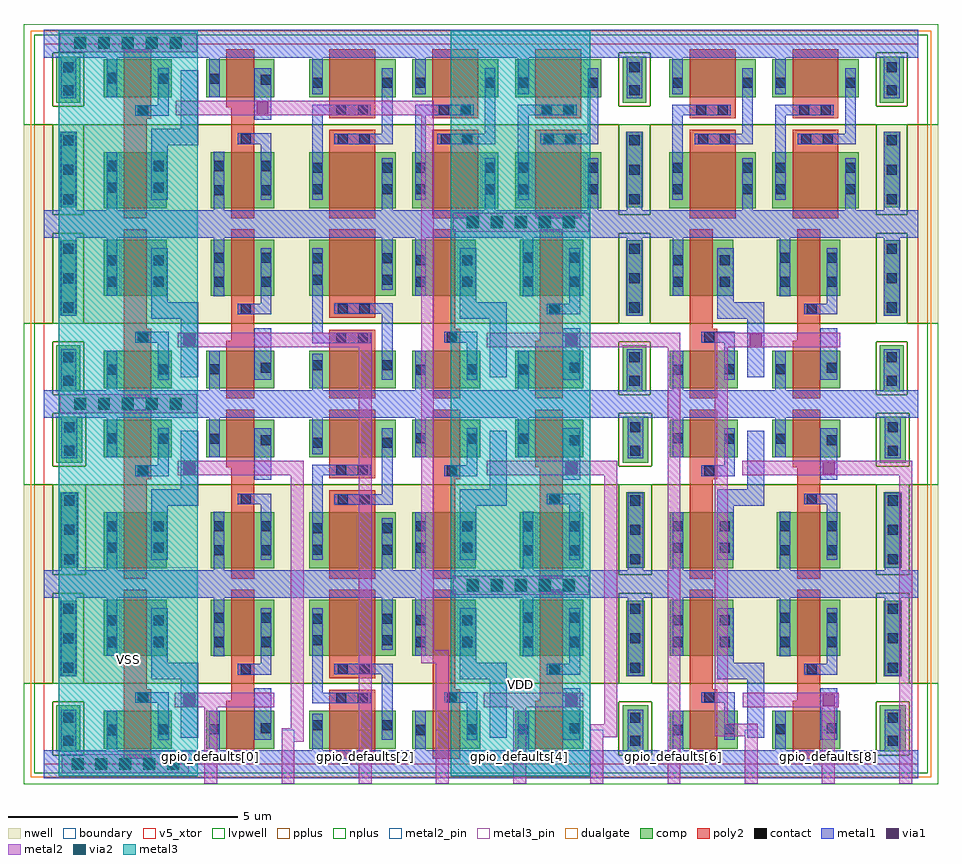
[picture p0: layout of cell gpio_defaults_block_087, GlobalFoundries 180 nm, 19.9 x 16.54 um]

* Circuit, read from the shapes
.subckt gpio_defaults_block_087 VDD VSS gpio_defaults[0] gpio_defaults[1] gpio_defaults[2] gpio_defaults[3] gpio_defaults[4] gpio_defaults[5] gpio_defaults[6] gpio_defaults[7] gpio_defaults[8] gpio_defaults[9]
XM1 n1 n1 VSS VSS nfet_05v0 w=0.82u l=0.6u
XM2 n2 n2 VSS VSS nfet_05v0 w=0.82u l=0.6u
XM3 n3 n3 VSS VSS nfet_05v0 w=0.82u l=0.6u
XM4 n4 n4 VSS VSS nfet_05v0 w=0.82u l=0.6u
XM5 gf180mcu_fd_sc_mcu7t5v0__tiel_6/ZN n5 VSS VSS nfet_05v0 w=0.82u l=0.6u
XM6 gf180mcu_fd_sc_mcu7t5v0__tiel_7/ZN n6 VSS VSS nfet_05v0 w=0.82u l=0.6u
XM7 gf180mcu_fd_sc_mcu7t5v0__tiel_23/ZN n7 VSS VSS nfet_05v0 w=0.82u l=0.6u
XM8 gpio_defaults[3] n8 VSS VSS nfet_05v0 w=0.82u l=0.6u
XM9 n9 n10 VSS VSS nfet_05v0 w=0.82u l=1u
XM10 n11 n12 VSS VSS nfet_05v0 w=0.82u l=1u
XM11 n13 n14 VSS VSS nfet_05v0 w=0.82u l=1u
XM12 n15 n16 VSS VSS nfet_05v0 w=0.82u l=1u
XM13 n17 n18 VSS VSS nfet_05v0 w=0.82u l=1u
XM14 n19 n19 VSS VSS nfet_05v0 w=0.82u l=0.6u
XM15 n20 n20 VSS VSS nfet_05v0 w=0.82u l=0.6u
XM16 n21 n21 VSS VSS nfet_05v0 w=0.82u l=0.6u
XM17 gpio_defaults[4] n22 VSS VSS nfet_05v0 w=0.82u l=0.6u
XM18 gpio_defaults[5] n23 VSS VSS nfet_05v0 w=0.82u l=0.6u
XM19 gpio_defaults[6] n24 VSS VSS nfet_05v0 w=0.82u l=0.6u
XM20 n25 n26 VSS VSS nfet_05v0 w=0.82u l=1u
XM21 n27 n28 VSS VSS nfet_05v0 w=0.82u l=1u
XM22 n29 n29 VSS VSS nfet_05v0 w=0.82u l=0.6u
XM23 n30 n30 VSS VSS nfet_05v0 w=0.82u l=0.6u
XM24 n31 n31 VSS VSS nfet_05v0 w=0.82u l=0.6u
XM25 gpio_defaults[8] n32 VSS VSS nfet_05v0 w=0.82u l=0.6u
XM26 gpio_defaults[9] n33 VSS VSS nfet_05v0 w=0.82u l=0.6u
XM27 gf180mcu_fd_sc_mcu7t5v0__tiel_29/ZN n34 VSS VSS nfet_05v0 w=0.82u l=0.6u
XM28 n35 n36 VSS VSS nfet_05v0 w=0.82u l=1u
XM29 gpio_defaults[0] n1 VDD VDD pfet_05v0 w=1.22u l=0.5u
XM30 gpio_defaults[1] n2 VDD VDD pfet_05v0 w=1.22u l=0.5u
XM31 gpio_defaults[2] n3 VDD VDD pfet_05v0 w=1.22u l=0.5u
XM32 gf180mcu_fd_sc_mcu7t5v0__tieh_31/Z n4 VDD VDD pfet_05v0 w=1.22u l=0.5u
XM33 n5 n5 VDD VDD pfet_05v0 w=1.22u l=0.5u
XM34 n6 n6 VDD VDD pfet_05v0 w=1.22u l=0.5u
XM35 n7 n7 VDD VDD pfet_05v0 w=1.22u l=0.5u
XM36 n8 n8 VDD VDD pfet_05v0 w=1.22u l=0.5u
XM37 VDD n9 n10 VDD pfet_05v0 w=1.22u l=1u
XM38 VDD n11 n12 VDD pfet_05v0 w=1.22u l=1u
XM39 VDD n13 n14 VDD pfet_05v0 w=1.22u l=1u
XM40 VDD n15 n16 VDD pfet_05v0 w=1.22u l=1u
XM41 VDD n17 n18 VDD pfet_05v0 w=1.22u l=1u
XM42 gf180mcu_fd_sc_mcu7t5v0__tieh_8/Z n19 VDD VDD pfet_05v0 w=1.22u l=0.5u
XM43 gf180mcu_fd_sc_mcu7t5v0__tieh_9/Z n20 VDD VDD pfet_05v0 w=1.22u l=0.5u
XM44 gf180mcu_fd_sc_mcu7t5v0__tieh_24/Z n21 VDD VDD pfet_05v0 w=1.22u l=0.5u
XM45 VDD n25 n26 VDD pfet_05v0 w=1.22u l=1u
XM46 n22 n22 VDD VDD pfet_05v0 w=1.22u l=0.5u
XM47 n23 n23 VDD VDD pfet_05v0 w=1.22u l=0.5u
XM48 n24 n24 VDD VDD pfet_05v0 w=1.22u l=0.5u
XM49 VDD n27 n28 VDD pfet_05v0 w=1.22u l=1u
XM50 gf180mcu_fd_sc_mcu7t5v0__tieh_14/Z n29 VDD VDD pfet_05v0 w=1.22u l=0.5u
XM51 gf180mcu_fd_sc_mcu7t5v0__tieh_15/Z n30 VDD VDD pfet_05v0 w=1.22u l=0.5u
XM52 gpio_defaults[7] n31 VDD VDD pfet_05v0 w=1.22u l=0.5u
XM53 VDD n35 n36 VDD pfet_05v0 w=1.22u l=1u
XM54 n32 n32 VDD VDD pfet_05v0 w=1.22u l=0.5u
XM55 n33 n33 VDD VDD pfet_05v0 w=1.22u l=0.5u
XM56 n34 n34 VDD VDD pfet_05v0 w=1.22u l=0.5u
.ends

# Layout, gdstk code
import gdstk
lib = gdstk.Library(unit=1e-6, precision=1e-09)
def R(c, l, rs):  # rectangles x0, y0, x1, y1
    for r in rs: c.add(gdstk.rectangle(r[:2], r[2:], *l))
def A(c, l, x, y, w, h, nx, ny, dx, dy):  # array of equal rectangles
    R(c, l, [(x+i*dx, y+j*dy, x+i*dx+w, y+j*dy+h) for i in range(nx) for j in range(ny)])
def P(c, l, *ps):  # polygons
    for p in ps: c.add(gdstk.Polygon(p, *l))
boundary = (0, 0)
nwell = (21, 0)
comp = (22, 0)
poly2 = (30, 0)
pplus = (31, 0)
nplus = (32, 0)
contact = (33, 0)
metal1 = (34, 0)
via1 = (35, 0)
metal2 = (36, 0)
metal2_pin = (36, 10)
via2 = (38, 0)
metal3 = (42, 0)
metal3_pin = (42, 10)
dualgate = (55, 0)
v5_xtor = (112, 1)
lvpwell = (204, 0)

gf180mcu_fd_sc_mcu7t5v0_ = lib.new_cell('gf180mcu_fd_sc_mcu7t5v0__endcap')
R(gf180mcu_fd_sc_mcu7t5v0_, boundary, [(0,0,1.12,3.92)])
R(gf180mcu_fd_sc_mcu7t5v0_, nwell, [(-0.43,1.76,1.55,4.35)])
R(gf180mcu_fd_sc_mcu7t5v0_, comp, [(0.28,0.28,0.8,1.28), (0.36,1.92,0.72,3.56)])
R(gf180mcu_fd_sc_mcu7t5v0_, pplus, [(0.2,0.2,0.88,1.36)])
P(gf180mcu_fd_sc_mcu7t5v0_, pplus, [(-0.2,1.76),(-0.2,4.12),(1.32,4.12),(1.32,1.76),(0.88,1.76),(0.88,3.72),(0.2,3.72),(0.2,1.76)])
P(gf180mcu_fd_sc_mcu7t5v0_, nplus, [(-0.2,-0.2),(-0.2,1.76),(0.2,1.76),(0.2,3.72),(0.88,3.72),(0.88,1.36),(0.2,1.36),(0.2,0.2),(0.88,0.2),(0.88,3.72),(0.88,1.76),(1.32,1.76),(1.32,-0.2)])
A(gf180mcu_fd_sc_mcu7t5v0_, contact, 0.43, 1.99, 0.22, 0.22, 1, 3, 0, 0.64)
R(gf180mcu_fd_sc_mcu7t5v0_, contact, [(0.43,0.4,0.65,0.62), (0.43,0.905,0.65,1.125)])
P(gf180mcu_fd_sc_mcu7t5v0_, metal1, [(0,-0.3),(0,0.3),(0.37,0.3),(0.37,1.19),(0.71,1.19),(0.71,0.3),(1.12,0.3),(1.12,-0.3)],
  [(0.37,1.92),(0.37,3.62),(0,3.62),(0,4.22),(1.12,4.22),(1.12,3.62),(0.71,3.62),(0.71,1.92)])
R(gf180mcu_fd_sc_mcu7t5v0_, dualgate, [(-0.28,-0.28,1.4,4.2)])
R(gf180mcu_fd_sc_mcu7t5v0_, v5_xtor, [(0,0,1.12,3.92)])
R(gf180mcu_fd_sc_mcu7t5v0_, lvpwell, [(-0.43,-0.43,1.55,1.76)])
gf180mcu_fd_sc_mcu7t5v0_.add(gdstk.Label('VSS', (0.56,-0.01), layer=34, texttype=10))
gf180mcu_fd_sc_mcu7t5v0_.add(gdstk.Label('VDD', (0.56,3.935), layer=34, texttype=10))
gf180mcu_fd_sc_mcu7t5v0_.add(gdstk.Label('& Vendor GLOBALFOUNDRIES', (0,2), layer=63, texttype=63))
gf180mcu_fd_sc_mcu7t5v0_.add(gdstk.Label('& Product GF018hv5v_mcu_sc7', (0,1.5), layer=63, texttype=63))
gf180mcu_fd_sc_mcu7t5v0_.add(gdstk.Label('& Version 2015q2v1', (0,1), layer=63, texttype=63))
gf180mcu_fd_sc_mcu7t5v0_.add(gdstk.Label('& Metric 1.00', (0,0.5), layer=63, texttype=63))

c_gf180mcu_fd_sc_mcu7t5v0_ = lib.new_cell('gf180mcu_fd_sc_mcu7t5v0__filltie')
R(c_gf180mcu_fd_sc_mcu7t5v0_, boundary, [(0,0,1.12,3.92)])
R(c_gf180mcu_fd_sc_mcu7t5v0_, nwell, [(-0.43,1.76,1.55,4.35)])
R(c_gf180mcu_fd_sc_mcu7t5v0_, comp, [(0.28,0.28,0.84,1.28), (0.36,1.92,0.76,3.56)])
R(c_gf180mcu_fd_sc_mcu7t5v0_, pplus, [(0.2,0.2,0.92,1.36)])
P(c_gf180mcu_fd_sc_mcu7t5v0_, pplus, [(-0.2,1.76),(-0.2,4.12),(1.32,4.12),(1.32,1.76),(0.92,1.76),(0.92,3.72),(0.2,3.72),(0.2,1.76)])
P(c_gf180mcu_fd_sc_mcu7t5v0_, nplus, [(-0.2,-0.2),(-0.2,1.76),(0.2,1.76),(0.2,3.72),(0.92,3.72),(0.92,1.36),(0.2,1.36),(0.2,0.2),(0.92,0.2),(0.92,3.72),(0.92,1.76),(1.32,1.76),(1.32,-0.2)])
A(c_gf180mcu_fd_sc_mcu7t5v0_, contact, 0.45, 1.99, 0.22, 0.22, 1, 3, 0, 0.64)
R(c_gf180mcu_fd_sc_mcu7t5v0_, contact, [(0.45,0.4,0.67,0.62), (0.45,0.905,0.67,1.125)])
P(c_gf180mcu_fd_sc_mcu7t5v0_, metal1, [(0,-0.3),(0,0.3),(0.39,0.3),(0.39,1.185),(0.73,1.185),(0.73,0.3),(1.12,0.3),(1.12,-0.3)],
  [(0.39,1.93),(0.39,3.62),(0,3.62),(0,4.22),(1.12,4.22),(1.12,3.62),(0.73,3.62),(0.73,1.93)])
R(c_gf180mcu_fd_sc_mcu7t5v0_, dualgate, [(-0.28,-0.28,1.4,4.2)])
R(c_gf180mcu_fd_sc_mcu7t5v0_, v5_xtor, [(0,0,1.12,3.92)])
R(c_gf180mcu_fd_sc_mcu7t5v0_, lvpwell, [(-0.43,-0.43,1.55,1.76)])
c_gf180mcu_fd_sc_mcu7t5v0_.add(gdstk.Label('VDD', (0.57,3.92), layer=34, texttype=10))
c_gf180mcu_fd_sc_mcu7t5v0_.add(gdstk.Label('VSS', (0.57,0), layer=34, texttype=10))
c_gf180mcu_fd_sc_mcu7t5v0_.add(gdstk.Label('& Vendor GLOBALFOUNDRIES', (0,2), layer=63, texttype=63))
c_gf180mcu_fd_sc_mcu7t5v0_.add(gdstk.Label('& Product GF018hv5v_mcu_sc7', (0,1.5), layer=63, texttype=63))
c_gf180mcu_fd_sc_mcu7t5v0_.add(gdstk.Label('& Version 2015q2v1', (0,1), layer=63, texttype=63))
c_gf180mcu_fd_sc_mcu7t5v0_.add(gdstk.Label('& Metric 1.00', (0,0.5), layer=63, texttype=63))

c_gf180mcu_fd_sc_mcu7t5v0__ = lib.new_cell('gf180mcu_fd_sc_mcu7t5v0__tieh')
R(c_gf180mcu_fd_sc_mcu7t5v0__, boundary, [(0,0,2.24,3.92)])
R(c_gf180mcu_fd_sc_mcu7t5v0__, nwell, [(-0.43,1.76,2.67,4.35)])
R(c_gf180mcu_fd_sc_mcu7t5v0__, comp, [(0.185,0.34,1.665,1.16), (0.185,2.36,1.565,3.58)])
P(c_gf180mcu_fd_sc_mcu7t5v0__, poly2, [(0.625,0.12),(0.625,3.8),(1.125,3.8),(1.125,1.635),(1.225,1.635),(1.225,0.12)])
R(c_gf180mcu_fd_sc_mcu7t5v0__, pplus, [(-0.2,1.76,2.44,4.12)])
R(c_gf180mcu_fd_sc_mcu7t5v0__, nplus, [(-0.2,-0.2,2.44,1.76)])
R(c_gf180mcu_fd_sc_mcu7t5v0__, contact, [(0.255,0.635,0.475,0.855), (1.375,0.65,1.595,0.87), (0.935,1.345,1.155,1.565), (0.255,2.55,0.475,2.77), (1.275,2.55,1.495,2.77), (0.255,3.02,0.475,3.24), (1.275,3.02,1.495,3.24)])
R(c_gf180mcu_fd_sc_mcu7t5v0__, metal1, [(1.22,2.305,1.58,3.39)])
P(c_gf180mcu_fd_sc_mcu7t5v0__, metal1, [(1.37,0.53),(1.37,1.335),(0.875,1.335),(0.875,1.57),(1.6,1.57),(1.6,0.53)],
  [(0,-0.3),(0,0.3),(0.25,0.3),(0.25,1.16),(0.48,1.16),(0.48,0.3),(2.24,0.3),(2.24,-0.3)],
  [(0.25,2.36),(0.25,3.62),(0,3.62),(0,4.22),(2.24,4.22),(2.24,3.62),(0.48,3.62),(0.48,2.36)])
R(c_gf180mcu_fd_sc_mcu7t5v0__, dualgate, [(-0.28,-0.28,2.52,4.2)])
R(c_gf180mcu_fd_sc_mcu7t5v0__, v5_xtor, [(0,0,2.24,3.92)])
R(c_gf180mcu_fd_sc_mcu7t5v0__, lvpwell, [(-0.43,-0.43,2.67,1.76)])
c_gf180mcu_fd_sc_mcu7t5v0__.add(gdstk.Label('Z', (1.4,3.08), layer=34, texttype=10))
c_gf180mcu_fd_sc_mcu7t5v0__.add(gdstk.Label('VDD', (1.12,3.935), layer=34, texttype=10))
c_gf180mcu_fd_sc_mcu7t5v0__.add(gdstk.Label('VSS', (1.12,-0.03), layer=34, texttype=10))
c_gf180mcu_fd_sc_mcu7t5v0__.add(gdstk.Label('& Vendor GLOBALFOUNDRIES', (0,2), layer=63, texttype=63))
c_gf180mcu_fd_sc_mcu7t5v0__.add(gdstk.Label('& Product GF018hv5v_mcu_sc7', (0,1.5), layer=63, texttype=63))
c_gf180mcu_fd_sc_mcu7t5v0__.add(gdstk.Label('& Version 2015q2v1', (0,1), layer=63, texttype=63))
c_gf180mcu_fd_sc_mcu7t5v0__.add(gdstk.Label('& Metric 1.00', (0,0.5), layer=63, texttype=63))

c_gf180mcu_fd_sc_mcu7t5v0___ = lib.new_cell('gf180mcu_fd_sc_mcu7t5v0__fillcap_4')
R(c_gf180mcu_fd_sc_mcu7t5v0___, boundary, [(0,0,2.24,3.92)])
R(c_gf180mcu_fd_sc_mcu7t5v0___, nwell, [(-0.43,1.76,2.67,4.35)])
R(c_gf180mcu_fd_sc_mcu7t5v0___, comp, [(0.18,0.34,2.06,1.16), (0.18,2.36,2.06,3.58)])
R(c_gf180mcu_fd_sc_mcu7t5v0___, poly2, [(0.62,0.12,1.62,1.62), (0.62,1.875,1.62,3.8)])
R(c_gf180mcu_fd_sc_mcu7t5v0___, pplus, [(-0.2,1.76,2.44,4.12)])
R(c_gf180mcu_fd_sc_mcu7t5v0___, nplus, [(-0.2,-0.2,2.44,1.76)])
R(c_gf180mcu_fd_sc_mcu7t5v0___, contact, [(0.25,0.735,0.47,0.955), (1.77,0.735,1.99,0.955), (0.765,1.33,0.985,1.55), (1.235,1.33,1.455,1.55), (0.805,1.965,1.025,2.185), (1.275,1.965,1.495,2.185), (0.25,2.59,0.47,2.81), (1.77,2.59,1.99,2.81), (0.25,3.06,0.47,3.28), (1.77,3.06,1.99,3.28)])
P(c_gf180mcu_fd_sc_mcu7t5v0___, metal1, [(0.245,1.325),(0.245,3.39),(0.475,3.39),(0.475,1.555),(1.52,1.555),(1.52,1.325)],
  [(1.765,0.53),(1.765,1.96),(0.73,1.96),(0.73,2.19),(1.995,2.19),(1.995,0.53)],
  [(0,-0.3),(0,0.3),(0.245,0.3),(0.245,1.095),(0.475,1.095),(0.475,0.3),(2.24,0.3),(2.24,-0.3)],
  [(1.765,2.49),(1.765,3.62),(0,3.62),(0,4.22),(2.24,4.22),(2.24,3.62),(1.995,3.62),(1.995,2.49)])
R(c_gf180mcu_fd_sc_mcu7t5v0___, dualgate, [(-0.28,-0.28,2.52,4.2)])
R(c_gf180mcu_fd_sc_mcu7t5v0___, v5_xtor, [(0,0,2.24,3.92)])
R(c_gf180mcu_fd_sc_mcu7t5v0___, lvpwell, [(-0.43,-0.43,2.67,1.76)])
c_gf180mcu_fd_sc_mcu7t5v0___.add(gdstk.Label('VDD', (1.12,3.91), layer=34, texttype=10))
c_gf180mcu_fd_sc_mcu7t5v0___.add(gdstk.Label('VSS', (1.12,-0.03), layer=34, texttype=10))
c_gf180mcu_fd_sc_mcu7t5v0___.add(gdstk.Label('& Vendor GLOBALFOUNDRIES', (0,2), layer=63, texttype=63))
c_gf180mcu_fd_sc_mcu7t5v0___.add(gdstk.Label('& Product GF018hv5v_mcu_sc7', (0,1.5), layer=63, texttype=63))
c_gf180mcu_fd_sc_mcu7t5v0___.add(gdstk.Label('& Version 2015q2v1', (0,1), layer=63, texttype=63))
c_gf180mcu_fd_sc_mcu7t5v0___.add(gdstk.Label('& Metric 1.00', (0,0.5), layer=63, texttype=63))

c_gf180mcu_fd_sc_mcu7t5v0____ = lib.new_cell('gf180mcu_fd_sc_mcu7t5v0__tiel')
R(c_gf180mcu_fd_sc_mcu7t5v0____, boundary, [(0,0,2.24,3.92)])
R(c_gf180mcu_fd_sc_mcu7t5v0____, nwell, [(-0.43,1.76,2.67,4.35)])
R(c_gf180mcu_fd_sc_mcu7t5v0____, comp, [(0.18,0.34,1.66,1.16), (0.28,2.36,1.66,3.58)])
P(c_gf180mcu_fd_sc_mcu7t5v0____, poly2, [(0.62,0.12),(0.62,1.38),(0.72,1.38),(0.72,3.8),(1.22,3.8),(1.22,0.12)])
R(c_gf180mcu_fd_sc_mcu7t5v0____, pplus, [(-0.2,1.76,2.44,4.12)])
R(c_gf180mcu_fd_sc_mcu7t5v0____, nplus, [(-0.2,-0.2,2.44,1.76)])
R(c_gf180mcu_fd_sc_mcu7t5v0____, contact, [(0.25,0.65,0.47,0.87), (1.37,0.675,1.59,0.895), (0.93,1.955,1.15,2.175), (0.35,2.55,0.57,2.77), (1.37,2.55,1.59,2.77), (0.35,3.075,0.57,3.295), (1.37,3.075,1.59,3.295)])
R(c_gf180mcu_fd_sc_mcu7t5v0____, metal1, [(1.22,0.53,1.595,1.65)])
P(c_gf180mcu_fd_sc_mcu7t5v0____, metal1, [(0.87,1.95),(0.87,2.185),(1.365,2.185),(1.365,3.39),(1.595,3.39),(1.595,1.95)],
  [(0,-0.3),(0,0.3),(0.245,0.3),(0.245,1.16),(0.475,1.16),(0.475,0.3),(2.24,0.3),(2.24,-0.3)],
  [(0.345,2.345),(0.345,3.62),(0,3.62),(0,4.22),(2.24,4.22),(2.24,3.62),(0.575,3.62),(0.575,2.345)])
R(c_gf180mcu_fd_sc_mcu7t5v0____, dualgate, [(-0.28,-0.28,2.52,4.2)])
R(c_gf180mcu_fd_sc_mcu7t5v0____, v5_xtor, [(0,0,2.24,3.92)])
R(c_gf180mcu_fd_sc_mcu7t5v0____, lvpwell, [(-0.43,-0.43,2.67,1.76)])
c_gf180mcu_fd_sc_mcu7t5v0____.add(gdstk.Label('ZN', (1.4,0.84), layer=34, texttype=10))
c_gf180mcu_fd_sc_mcu7t5v0____.add(gdstk.Label('VDD', (1.12,3.915), layer=34, texttype=10))
c_gf180mcu_fd_sc_mcu7t5v0____.add(gdstk.Label('VSS', (1.12,-0.01), layer=34, texttype=10))
c_gf180mcu_fd_sc_mcu7t5v0____.add(gdstk.Label('& Vendor GLOBALFOUNDRIES', (0,2), layer=63, texttype=63))
c_gf180mcu_fd_sc_mcu7t5v0____.add(gdstk.Label('& Product GF018hv5v_mcu_sc7', (0,1.5), layer=63, texttype=63))
c_gf180mcu_fd_sc_mcu7t5v0____.add(gdstk.Label('& Version 2015q2v1', (0,1), layer=63, texttype=63))
c_gf180mcu_fd_sc_mcu7t5v0____.add(gdstk.Label('& Metric 1.00', (0,0.5), layer=63, texttype=63))

gpio_defaults_block_087 = lib.new_cell('gpio_defaults_block_087')
R(gpio_defaults_block_087, metal1, [(0.46,-0.145,3.105,0.155), (4.58,0.53,4.955,1.65), (11.3,0.53,11.675,1.65), (16.9,0.53,17.275,1.65), (2.99,0.58,3.365,1.85), (9.71,0.58,10.085,1.85), (15.31,0.58,15.685,1.85), (2.34,1.85,3.365,2.21), (9.06,1.85,10.085,2.21), (14.66,1.85,15.685,2.21), (2.34,2.21,2.7,2.305), (9.06,2.21,9.42,2.305), (14.66,2.21,15.02,2.305), (8.965,3.75,11.81,4.05), (2.34,5.535,2.7,5.63), (9.06,5.535,9.42,5.63), (14.66,5.535,15.02,5.63), (2.34,5.63,3.365,5.99), (9.06,5.63,10.085,5.99), (14.66,5.63,15.685,5.99), (2.99,5.99,3.365,7.26), (9.71,5.99,10.085,7.26), (15.31,5.99,15.685,7.26), (4.58,6.19,4.955,7.31), (11.3,6.19,11.675,7.31), (16.9,6.19,17.275,7.31), (0.415,7.7,3.26,8), (4.58,8.37,4.955,9.49), (11.3,8.37,11.675,9.49), (16.9,8.37,17.275,9.49), (2.99,8.42,3.365,9.69), (9.71,8.42,10.085,9.69), (15.31,8.42,15.685,9.69), (2.34,9.69,3.365,10.05), (9.06,9.69,10.085,10.05), (14.66,9.69,15.685,10.05), (2.34,10.05,2.7,10.145), (9.06,10.05,9.42,10.145), (14.66,10.05,15.02,10.145), (8.965,11.65,11.81,11.95), (2.34,13.375,2.7,13.47), (2.34,13.47,3.365,13.83), (2.99,13.83,3.365,15.1), (4.58,14.03,4.955,15.15), (0.415,15.55,3.26,15.85)])
A(gpio_defaults_block_087, via1, 0.61, -0.125, 0.26, 0.26, 5, 1, 0.52, 0)
A(gpio_defaults_block_087, via1, 9.215, 3.77, 0.26, 0.26, 5, 2, 0.52, 7.9)
A(gpio_defaults_block_087, via1, 0.665, 7.72, 0.26, 0.26, 5, 2, 0.52, 7.85)
R(gpio_defaults_block_087, via1, [(3.045,1.265,3.305,1.525), (11.355,1.265,11.615,1.525), (16.955,1.265,17.215,1.525), (3.045,6.315,3.305,6.575), (11.355,6.315,11.615,6.575), (16.955,6.315,17.215,6.575), (3.045,9.105,3.305,9.365), (11.355,9.105,11.615,9.365), (15.365,9.105,15.625,9.365), (4.635,14.155,4.895,14.415)])
A(gpio_defaults_block_087, metal2, 3.5, -0.42, 0.28, 1.655, 3, 1, 6.72, 0)
R(gpio_defaults_block_087, metal2, [(5.18,-0.42,5.46,0.485), (6.86,-0.42,7.14,9.075), (8.54,-0.42,8.82,2.2), (11.9,-0.42,12.18,0.59), (13.58,-0.42,13.86,9.075), (15.26,-0.42,15.54,0.605), (18.62,-0.42,18.9,6.285), (0.4,-0.2,3.165,0.215), (5.18,0.485,5.66,0.785), (11.9,0.59,12.48,0.87), (14.605,0.605,15.54,0.885), (5.38,0.785,5.66,6.285), (12.2,0.87,12.48,6.285), (14.605,0.885,14.885,9.075), (2.86,1.235,5.02,1.555), (9.575,1.235,11.74,1.555), (15.215,1.235,17.31,1.555), (8.215,2.2,8.82,2.48), (8.215,2.48,8.495,14.125), (8.9,3.69,11.88,4.105), (2.925,6.285,5.66,6.605), (9.645,6.285,12.48,6.605), (15.205,6.285,18.9,6.605), (0.35,7.64,3.33,8.055), (2.925,9.075,7.14,9.395), (9.645,9.075,13.86,9.395), (14.605,9.075,17.34,9.395), (8.9,11.59,11.88,12.005), (2.88,14.125,8.495,14.445), (0.35,15.49,3.33,15.905)])
A(gpio_defaults_block_087, metal2_pin, 3.5, -0.42, 0.28, 1.17, 10, 1, 1.68, 0)
A(gpio_defaults_block_087, via2, 0.61, -0.125, 0.26, 0.26, 5, 1, 0.52, 0)
A(gpio_defaults_block_087, via2, 9.215, 3.77, 0.26, 0.26, 5, 2, 0.52, 7.9)
A(gpio_defaults_block_087, via2, 0.665, 7.72, 0.26, 0.26, 5, 2, 0.52, 7.85)
R(gpio_defaults_block_087, metal3, [(0.33,-0.265,3.36,15.96), (8.865,-0.265,11.895,15.96)])
R(gpio_defaults_block_087, metal3_pin, [(8.865,-0.265,11.895,3.75), (0.33,0.275,3.36,4.29)])
gpio_defaults_block_087.add(gdstk.Reference(gf180mcu_fd_sc_mcu7t5v0_, (0,0)))
gpio_defaults_block_087.add(gdstk.Reference(c_gf180mcu_fd_sc_mcu7t5v0_, (0,7.84), x_reflection=True))
gpio_defaults_block_087.add(gdstk.Reference(c_gf180mcu_fd_sc_mcu7t5v0__, (1.12,0)))
gpio_defaults_block_087.add(gdstk.Reference(c_gf180mcu_fd_sc_mcu7t5v0__, (1.12,7.84), x_reflection=True))
gpio_defaults_block_087.add(gdstk.Reference(c_gf180mcu_fd_sc_mcu7t5v0___, (5.6,0)))
gpio_defaults_block_087.add(gdstk.Reference(c_gf180mcu_fd_sc_mcu7t5v0___, (5.6,7.84), x_reflection=True))
gpio_defaults_block_087.add(gdstk.Reference(c_gf180mcu_fd_sc_mcu7t5v0____, (3.36,0)))
gpio_defaults_block_087.add(gdstk.Reference(c_gf180mcu_fd_sc_mcu7t5v0____, (3.36,7.84), x_reflection=True))
gpio_defaults_block_087.add(gdstk.Reference(c_gf180mcu_fd_sc_mcu7t5v0__, (7.84,0)))
gpio_defaults_block_087.add(gdstk.Reference(c_gf180mcu_fd_sc_mcu7t5v0__, (7.84,7.84), x_reflection=True))
gpio_defaults_block_087.add(gdstk.Reference(c_gf180mcu_fd_sc_mcu7t5v0_, (12.32,0)))
gpio_defaults_block_087.add(gdstk.Reference(c_gf180mcu_fd_sc_mcu7t5v0_, (12.32,7.84), x_reflection=True))
gpio_defaults_block_087.add(gdstk.Reference(c_gf180mcu_fd_sc_mcu7t5v0____, (10.08,0)))
gpio_defaults_block_087.add(gdstk.Reference(c_gf180mcu_fd_sc_mcu7t5v0____, (10.08,7.84), x_reflection=True))
gpio_defaults_block_087.add(gdstk.Reference(c_gf180mcu_fd_sc_mcu7t5v0__, (13.44,0)))
gpio_defaults_block_087.add(gdstk.Reference(c_gf180mcu_fd_sc_mcu7t5v0__, (13.44,7.84), x_reflection=True))
gpio_defaults_block_087.add(gdstk.Reference(c_gf180mcu_fd_sc_mcu7t5v0_, (17.92,0)))
gpio_defaults_block_087.add(gdstk.Reference(c_gf180mcu_fd_sc_mcu7t5v0_, (17.92,7.84), x_reflection=True))
gpio_defaults_block_087.add(gdstk.Reference(c_gf180mcu_fd_sc_mcu7t5v0____, (15.68,0)))
gpio_defaults_block_087.add(gdstk.Reference(c_gf180mcu_fd_sc_mcu7t5v0____, (15.68,7.84), x_reflection=True))
gpio_defaults_block_087.add(gdstk.Reference(gf180mcu_fd_sc_mcu7t5v0_, (0,7.84)))
gpio_defaults_block_087.add(gdstk.Reference(c_gf180mcu_fd_sc_mcu7t5v0__, (1.12,7.84)))
gpio_defaults_block_087.add(gdstk.Reference(c_gf180mcu_fd_sc_mcu7t5v0___, (5.6,7.84)))
gpio_defaults_block_087.add(gdstk.Reference(c_gf180mcu_fd_sc_mcu7t5v0____, (3.36,7.84)))
gpio_defaults_block_087.add(gdstk.Reference(c_gf180mcu_fd_sc_mcu7t5v0__, (7.84,7.84)))
gpio_defaults_block_087.add(gdstk.Reference(gf180mcu_fd_sc_mcu7t5v0_, (12.32,7.84)))
gpio_defaults_block_087.add(gdstk.Reference(c_gf180mcu_fd_sc_mcu7t5v0____, (10.08,7.84)))
gpio_defaults_block_087.add(gdstk.Reference(c_gf180mcu_fd_sc_mcu7t5v0__, (13.44,7.84)))
gpio_defaults_block_087.add(gdstk.Reference(gf180mcu_fd_sc_mcu7t5v0_, (17.92,7.84)))
gpio_defaults_block_087.add(gdstk.Reference(c_gf180mcu_fd_sc_mcu7t5v0____, (15.68,7.84)))
gpio_defaults_block_087.add(gdstk.Reference(gf180mcu_fd_sc_mcu7t5v0_, (0,15.68), x_reflection=True))
gpio_defaults_block_087.add(gdstk.Reference(c_gf180mcu_fd_sc_mcu7t5v0__, (1.12,15.68), x_reflection=True))
gpio_defaults_block_087.add(gdstk.Reference(c_gf180mcu_fd_sc_mcu7t5v0___, (5.6,15.68), x_reflection=True))
gpio_defaults_block_087.add(gdstk.Reference(c_gf180mcu_fd_sc_mcu7t5v0____, (3.36,15.68), x_reflection=True))
gpio_defaults_block_087.add(gdstk.Reference(c_gf180mcu_fd_sc_mcu7t5v0___, (7.84,15.68), x_reflection=True))
gpio_defaults_block_087.add(gdstk.Reference(gf180mcu_fd_sc_mcu7t5v0_, (12.32,15.68), x_reflection=True))
gpio_defaults_block_087.add(gdstk.Reference(c_gf180mcu_fd_sc_mcu7t5v0___, (10.08,15.68), x_reflection=True))
gpio_defaults_block_087.add(gdstk.Reference(c_gf180mcu_fd_sc_mcu7t5v0___, (13.44,15.68), x_reflection=True))
gpio_defaults_block_087.add(gdstk.Reference(gf180mcu_fd_sc_mcu7t5v0_, (17.92,15.68), x_reflection=True))
gpio_defaults_block_087.add(gdstk.Reference(c_gf180mcu_fd_sc_mcu7t5v0___, (15.68,15.68), x_reflection=True))
gpio_defaults_block_087.add(gdstk.Label('gpio_defaults[0]', (3.64,0.165), layer=36, texttype=10))
gpio_defaults_block_087.add(gdstk.Label('gpio_defaults[4]', (10.36,0.165), layer=36, texttype=10))
gpio_defaults_block_087.add(gdstk.Label('gpio_defaults[8]', (17.08,0.165), layer=36, texttype=10))
gpio_defaults_block_087.add(gdstk.Label('gpio_defaults[7]', (15.4,0.165), layer=36, texttype=10))
gpio_defaults_block_087.add(gdstk.Label('gpio_defaults[1]', (5.32,0.165), layer=36, texttype=10))
gpio_defaults_block_087.add(gdstk.Label('gpio_defaults[5]', (12.04,0.165), layer=36, texttype=10))
gpio_defaults_block_087.add(gdstk.Label('gpio_defaults[9]', (18.76,0.165), layer=36, texttype=10))
gpio_defaults_block_087.add(gdstk.Label('gpio_defaults[3]', (8.68,0.165), layer=36, texttype=10))
gpio_defaults_block_087.add(gdstk.Label('gpio_defaults[2]', (7,0.165), layer=36, texttype=10))
gpio_defaults_block_087.add(gdstk.Label('gpio_defaults[6]', (13.72,0.165), layer=36, texttype=10))
gpio_defaults_block_087.add(gdstk.Label('VDD', (10.38,1.742), layer=42, texttype=10))
gpio_defaults_block_087.add(gdstk.Label('VSS', (1.845,2.282), layer=42, texttype=10))

lib.write_gds('gpio_defaults_block_087.gds')
